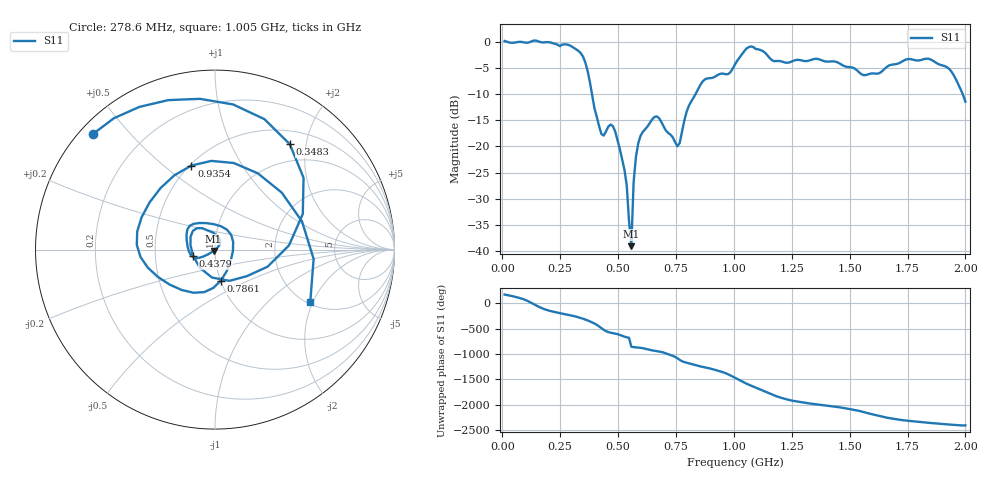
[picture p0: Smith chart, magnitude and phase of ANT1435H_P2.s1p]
!Created with skrf (http://scikit-rf.org).
# Hz S RI R 50.0
!freq ReS11 ImS11
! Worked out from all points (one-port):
!   201 points, 10 MHz to 2 GHz, reference 50 ohm
!   lowest |S11| = -39.0 dB at 557.2 MHz (marker M1), VSWR 1.02, Z = 49.2 - j0.761 ohm
!   |S11| at or under -10 dB: 387.3 MHz to 834.8 MHz (447.6 MHz wide, 73.2 % of centre); 1.988 GHz to end of sweep
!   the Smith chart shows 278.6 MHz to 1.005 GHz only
!   S11 on the Smith chart (normalised r, x): 278.6 MHz: 0.04, +0.40; 348.3 MHz: 0.70, +1.71; 437.9 MHz: 0.78, -0.06; 786.1 MHz: 1.00, -0.36; 935.4 MHz: 0.51, +0.62; 1.005 GHz: 2.09, -1.91
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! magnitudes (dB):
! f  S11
! 10 MHz  0.1
! 258.8 MHz  -0.6
! 278.6 MHz  -0.6
! 348.3 MHz  -2.9
! 368.2 MHz  -5.5
! 417.9 MHz  -16.1
! 437.9 MHz  -17.9
! 477.6 MHz  -16.1
! 507.5 MHz  -20.5
! 537.4 MHz  -27.4
! 557.2 MHz  -39.0
! 567.2 MHz  -26.8
! 577.1 MHz  -22.0
! 597 MHz  -18.0
! 666.7 MHz  -14.3
! 756.2 MHz  -20.0
! 786.1 MHz  -15.1
! 865.7 MHz  -7.6
! 935.4 MHz  -6.3
! 1.005 GHz  -4.4
! 1.075 GHz  -0.9
! 1.174 GHz  -3.7
! 1.254 GHz  -3.7
! 1.502 GHz  -4.9
! 1.622 GHz  -6.1
! 1.751 GHz  -3.3
! 1.92 GHz  -4.9
! 2 GHz  -11.5
